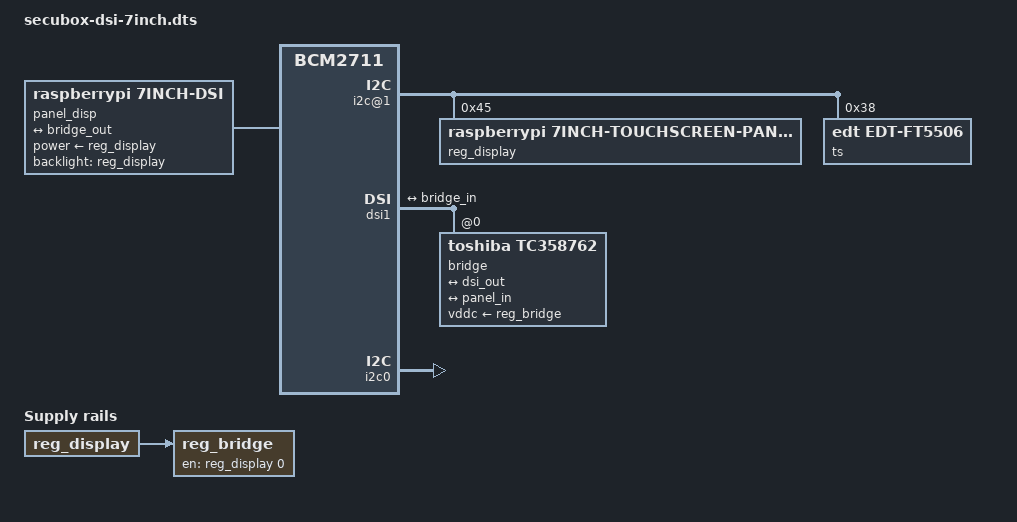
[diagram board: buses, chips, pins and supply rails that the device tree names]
/*
 * SPDX-License-Identifier: LicenseRef-CMSD-1.0
 * SecuBox : écran officiel Raspberry Pi 7" (DSI, nappe) sur le dtb et le noyau Debian (#3399).
 * Même chaîne que l'overlay vc4-kms-dsi-7inch de Raspberry Pi : régulateur ATTINY (0x45) -> pont TC358762
 * (module DKMS, absent du noyau Debian) -> dalle raspberrypi,7inch-dsi (panel-simple patché, DKMS).
 * Tactile FT5406 dans un fragment séparé (fragment@4), désactivable : dtoverlay=secubox-dsi-7inch,touch=off
 * (sans vcc-supply ni reset-gpios : ces propriétés ont bloqué un démarrage au banc).
 */
/dts-v1/;
/plugin/;

/ {
	compatible = "brcm,bcm2711";

	fragment@0 {
		target-path = "/i2c-mux0/i2c@1";
		__overlay__ {
			#address-cells = <1>;
			#size-cells = <0>;
			reg_display: regulator@45 {
				compatible = "raspberrypi,7inch-touchscreen-panel-regulator";
				reg = <0x45>;
				gpio-controller;
				#gpio-cells = <2>;
			};
		};
	};

	fragment@1 {
		target = <&dsi1>;
		__overlay__ {
			#address-cells = <1>;
			#size-cells = <0>;
			status = "okay";
			port {
				dsi_out: endpoint {
					remote-endpoint = <&bridge_in>;
				};
			};
			bridge@0 {
				reg = <0>;
				compatible = "toshiba,tc358762";
				vddc-supply = <&reg_bridge>;
				ports {
					#address-cells = <1>;
					#size-cells = <0>;
					port@0 {
						reg = <0>;
						bridge_in: endpoint {
							remote-endpoint = <&dsi_out>;
						};
					};
					port@1 {
						reg = <1>;
						bridge_out: endpoint {
							remote-endpoint = <&panel_in>;
						};
					};
				};
			};
		};
	};

	fragment@2 {
		target-path = "/";
		__overlay__ {
			panel_disp: panel_disp {
				compatible = "raspberrypi,7inch-dsi", "simple-panel";
				power-supply = <&reg_display>;
				backlight = <&reg_display>;
				port {
					panel_in: endpoint {
						remote-endpoint = <&bridge_out>;
					};
				};
			};
			reg_bridge: reg_bridge {
				compatible = "regulator-fixed";
				regulator-name = "bridge_reg";
				gpio = <&reg_display 0 0>;
				vin-supply = <&reg_display>;
				enable-active-high;
			};
		};
	};

	fragment@3 {
		target = <&i2c0>;
		__overlay__ {
			status = "okay";
		};
	};

	/* tactile FT5406 (edt-ft5x06 DKMS en polling), axes inversés comme l'overlay officiel */
	fragment@4 {
		target-path = "/i2c-mux0/i2c@1";
		__overlay__ {
			#address-cells = <1>;
			#size-cells = <0>;
			ts@38 {
				compatible = "edt,edt-ft5506";
				reg = <0x38>;
				touchscreen-size-x = <800>;
				touchscreen-size-y = <480>;
				touchscreen-inverted-x;
				touchscreen-inverted-y;
			};
		};
	};

	__overrides__ {
		touch = <0>,"+4";
	};
};
